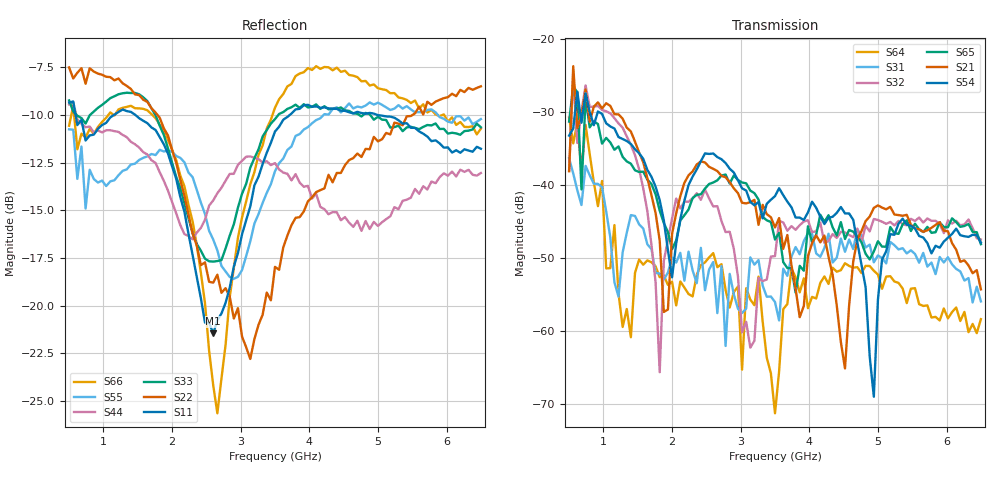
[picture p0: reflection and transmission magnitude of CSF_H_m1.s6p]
!Keysight Technologies,M9804A,MY58100912,A.14.10.03
!Date: Thursday, April 27, 2023 10:28:33
!Correction: S11(C  6-Port  )
!S12(C  6-Port  )
!S13(C  6-Port  )
!S14(C  6-Port  )
!S15(C  6-Port  )
!S16(C  6-Port  )
!S21(C  6-Port  )
!S22(C  6-Port  )
!S23(C  6-Port  )
!S24(C  6-Port  )
!S25(C  6-Port  )
!S26(C  6-Port  )
!S31(C  6-Port  )
!S32(C  6-Port  )
!S33(C  6-Port  )
!S34(C  6-Port  )
!S35(C  6-Port  )
!S36(C  6-Port  )
!S41(C  6-Port  )
!S42(C  6-Port  )
!S43(C  6-Port  )
!S44(C  6-Port  )
!S45(C  6-Port  )
!S46(C  6-Port  )
!S51(C  6-Port  )
!S52(C  6-Port  )
!S53(C  6-Port  )
!S54(C  6-Port  )
!S55(C  6-Port  )
!S56(C  6-Port  )
!S61(C  6-Port  )
!S62(C  6-Port  )
!S63(C  6-Port  )
!S64(C  6-Port  )
!S65(C  6-Port  )
!S66(C  6-Port  )
!S6P File: Measurement: :
# Hz S  RI  R 50
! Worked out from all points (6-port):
!   101 points, 500 MHz to 6.5 GHz, reference 50 ohm
!   strongest paths, dB at 500 MHz, 2 GHz, 3.5 GHz, 5 GHz, 6.5 GHz:
!     S54: -33.2, -52.6, -41.5, -55.7, -47.9
!     S21: -38.1, -46.7, -45.8, -42.8, -54.3
!     S65: -31.3, -48.8, -47.5, -47.7, -48.1
!     S32: -38.0, -44.6, -49.7, -44.8, -47.5
!     S31: -36.3, -49.9, -56.0, -49.6, -55.9
!     S64: -30.8, -53.2, -71.3, -52.3, -58.4
!   lowest |S11| = -21.5 dB at 2.6 GHz (marker M1), VSWR 1.18, Z = 42.5 + j2.22 ohm
!   |S11| at or under -10 dB: 594 MHz to 1.156 GHz (561.7 MHz wide, 64.2 % of centre); 1.464 GHz to 3.716 GHz (2.253 GHz wide, 87 % of centre); 4.988 GHz to end of sweep
